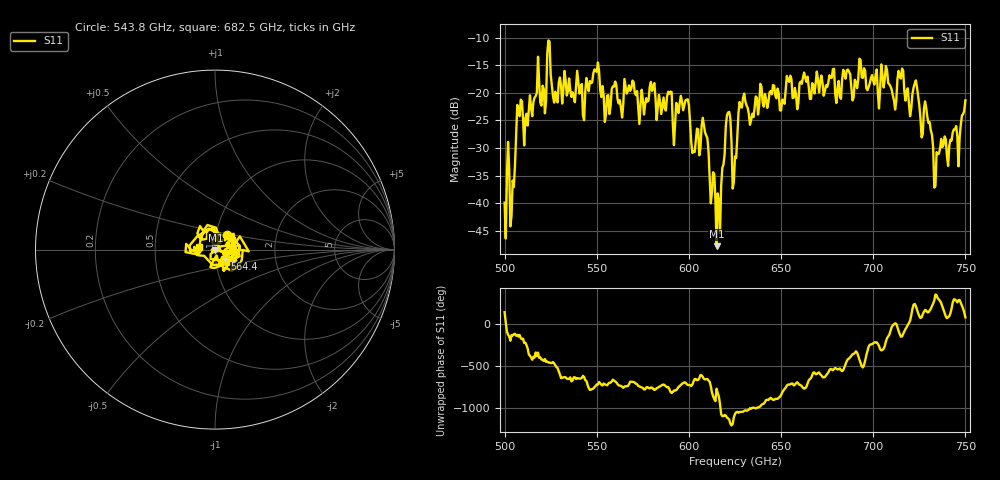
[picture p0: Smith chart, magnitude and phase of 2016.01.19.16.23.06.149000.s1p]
!Created with skrf (http://scikit-rf.org).
# GHz S RI R 50.0
!freq ReS11 ImS11
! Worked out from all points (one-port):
!   401 points, 500 GHz to 750 GHz, reference 50 ohm
!   lowest |S11| = -47.8 dB at 615 GHz (marker M1), VSWR 1.01, Z = 50.2 - j0.328 ohm
!   |S11| at or under -10 dB: start of sweep to end of sweep
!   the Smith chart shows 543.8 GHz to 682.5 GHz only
!   S11 on the Smith chart (normalised r, x): 543.8 GHz: 1.12, +0.18; 564.4 GHz: 1.11, -0.12; 682.5 GHz: 0.84, +0.03
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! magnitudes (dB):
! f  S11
! 500 GHz  -39.9
! 504.4 GHz  -35.9
! 508.1 GHz  -24.2
! 521.2 GHz  -19.3
! 524.4 GHz  -10.7
! 527.5 GHz  -19.8
! 531.2 GHz  -21.9
! 543.8 GHz  -19.8
! 550 GHz  -16.2
! 562.5 GHz  -21.3
! 564.4 GHz  -22.1
! 593.8 GHz  -22.4
! 598.8 GHz  -21.2
! 602.5 GHz  -30.7
! 608.8 GHz  -27.2
! 615 GHz  -47.8
! 616.2 GHz  -39.7
! 621.2 GHz  -23.5
! 625 GHz  -31.5
! 628.8 GHz  -22.6
! 656.2 GHz  -20.9
! 682.5 GHz  -21.1
! 687.5 GHz  -16.6
! 715 GHz  -17.4
! 718.8 GHz  -19.2
! 723.1 GHz  -17.7
! 734.4 GHz  -30.7
! 750 GHz  -21.4
